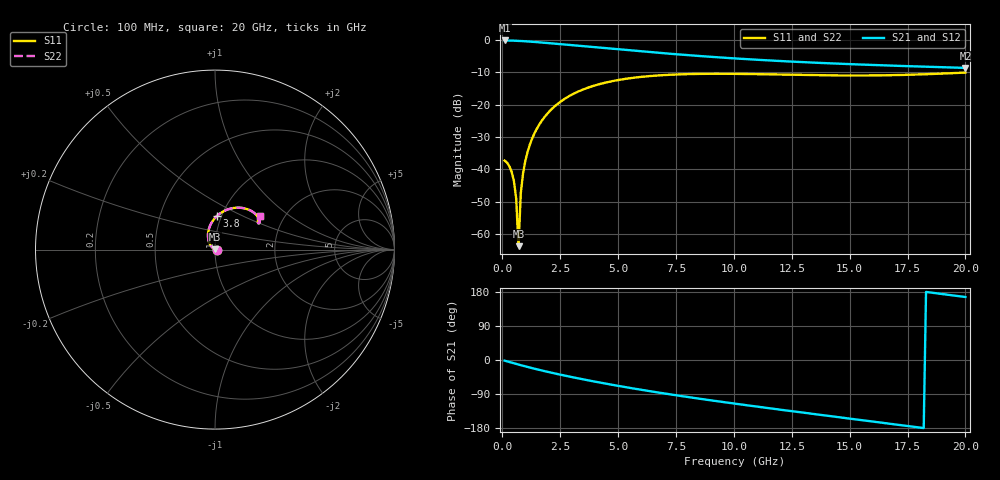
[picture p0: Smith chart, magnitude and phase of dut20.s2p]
! Created with skrf 1.9.0 (http://scikit-rf.org).
# GHz S RI R 50.0
!freq ReS11 ImS11 ReS21 ImS21 ReS12 ImS12 ReS22 ImS22
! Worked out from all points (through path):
!   200 points, 100 MHz to 20 GHz, reference 50 ohm
!   highest |S21| = -0.12 dB at 100 MHz (marker M1); lowest = -8.6 dB at 20 GHz (marker M2)
!   group delay of S21, straight-line fit = 25.2 ps
!   lowest |S11| = -63.8 dB at 700 MHz (marker M3), VSWR 1.00, Z = 50 + j0.0637 ohm
!   |S11| at or under -10 dB: start of sweep to end of sweep
!   |S22| runs from -63.8 to -10.1 dB; largest |S21 - S12| = 2.2e-15
!   S11 on the Smith chart (normalised r, x): 100 MHz: 1.03, -0.00; 3.8 GHz: 0.95, +0.37; 20 GHz: 1.52, +0.63
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0.1  0.0136 -0.000734  0.9853 -0.0299  0.9853 -0.0299  0.0136 -0.000734
0.3  0.0111 -0.00161  0.9791 -0.0893  0.9791 -0.0893  0.0111 -0.00161
0.4  0.00905 -0.00168  0.9738 -0.1184  0.9738 -0.1184  0.00905 -0.00168
0.5  0.00647 -0.00138  0.9671 -0.147  0.9671 -0.147  0.00647 -0.00138
0.6  0.00346 -0.000629  0.9591 -0.1749  0.9591 -0.1749  0.00346 -0.000629
0.7  9.63e-05 0.000637  0.9498 -0.2021  0.9498 -0.2021  9.63e-05 0.000637
0.8  -0.00354 0.00246  0.9395 -0.2285  0.9395 -0.2285  -0.00354 0.00246
0.9  -0.00735 0.00488  0.9281 -0.254  0.9281 -0.254  -0.00735 0.00488
1  -0.0112 0.0079  0.9158 -0.2785  0.9158 -0.2785  -0.0112 0.0079
1.1  -0.0151 0.0115  0.9027 -0.3022  0.9027 -0.3022  -0.0151 0.0115
1.3  -0.0226 0.0205  0.8744 -0.3467  0.8744 -0.3467  -0.0226 0.0205
1.7  -0.0342 0.0443  0.8119 -0.4244  0.8119 -0.4244  -0.0342 0.0443
2.2  -0.0393 0.0809  0.7276 -0.5023  0.7276 -0.5023  -0.0393 0.0809
2.8  -0.0303 0.1264  0.6234 -0.5717  0.6234 -0.5717  -0.0303 0.1264
3.5  -0.00338 0.1723  0.5033 -0.6257  0.5033 -0.6257  -0.00338 0.1723
3.8  0.0118 0.1881  0.4532 -0.6412  0.4532 -0.6412  0.0118 0.1881
5.1  0.0858 0.2283  0.2523 -0.6672  0.2523 -0.6672  0.0858 0.2283
6.8  0.1695 0.2284  0.039 -0.6311  0.039 -0.6311  0.1695 0.2284
10.1  0.2428 0.1758  -0.2242 -0.467  -0.2242 -0.467  0.2428 0.1758
13.4  0.2458 0.1464  -0.3535 -0.275  -0.3535 -0.275  0.2458 0.1464
16.7  0.2385 0.1569  -0.3942 -0.0844  -0.3942 -0.0844  0.2385 0.1569
20  0.2523 0.1865  -0.3602 0.0881  -0.3602 0.0881  0.2523 0.1865
